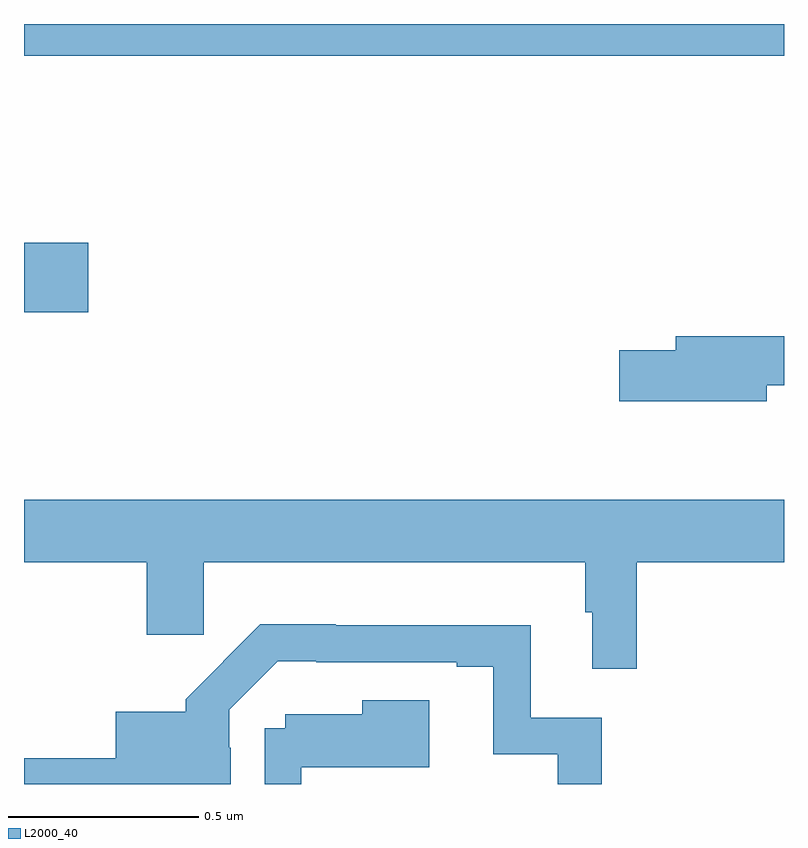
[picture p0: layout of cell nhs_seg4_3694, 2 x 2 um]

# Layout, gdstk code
import gdstk
lib = gdstk.Library(unit=1e-6, precision=1e-09)
def R(c, l, rs):  # rectangles x0, y0, x1, y1
    for r in rs: c.add(gdstk.rectangle(r[:2], r[2:], *l))
def P(c, l, *ps):  # polygons
    for p in ps: c.add(gdstk.Polygon(p, *l))
L2000_40 = (2000, 40)

nhs_seg4_3694 = lib.new_cell('nhs_seg4_3694')
R(nhs_seg4_3694, L2000_40, [(156,800.141,156.169,800.324), (156,800.816,158,800.9)])
P(nhs_seg4_3694, L2000_40, [(157.954,799.95),(158,799.95),(158,800.078),(157.715,800.078),(157.715,800.042),(157.566,800.042),(157.566,799.907),(157.954,799.907)],
  [(157.613,799.484),(158,799.484),(158,799.648),(156,799.648),(156,799.484),(156.323,799.484),(156.323,799.293),(156.473,799.293),(156.473,799.484),(157.477,799.484),(157.477,799.352),(157.496,799.352),(157.496,799.203),(157.613,799.203)],
  [(156.544,798.995),(156.54,798.995),(156.54,799.095),(156.668,799.223),(156.769,799.223),(156.769,799.221),(157.139,799.221),(157.139,799.209),(157.235,799.209),(157.235,798.978),(157.404,798.978),(157.404,798.9),(157.52,798.9),(157.52,799.074),(157.333,799.074),(157.333,799.318),(156.821,799.318),(156.821,799.321),(156.622,799.321),(156.425,799.123),(156.425,799.09),(156.242,799.09),(156.242,798.968),(156,798.968),(156,798.9),(156.544,798.9)],
  [(156.729,798.944),(157.066,798.944),(157.066,799.12),(156.89,799.12),(156.89,799.084),(156.687,799.084),(156.687,799.047),(156.633,799.047),(156.633,798.9),(156.729,798.9)])

lib.write_gds('nhs_seg4_3694.gds')
